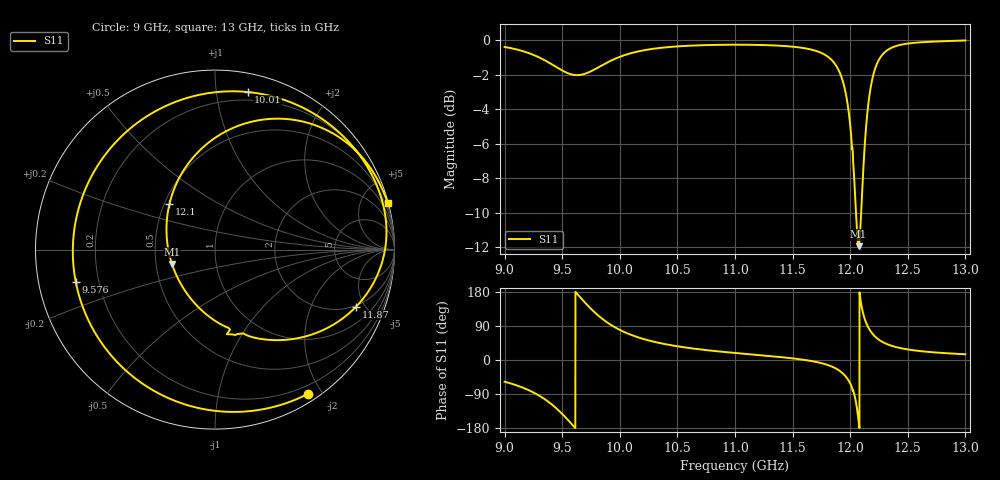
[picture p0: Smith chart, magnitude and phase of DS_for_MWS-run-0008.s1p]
! TOUCHSTONE file generated by CST DESIGN STUDIO
! Date and time: Tue Feb  4 16:15:28 2025
! Project name: C:\Work\MatlabApps\UnitCellOptimizationMatlab\CST\unitcell.cst
! Tree item: Tasks\Sweep1\SPara1\S-Parameters
! Header version: 2024
! Port assignment regex: !\s*Touchstone port\s*([0-9]+)\s*=\s*(CST MWS port|CST DES external port|CST DES block port)\s*(.+)\s* \(\"(.*)\"\)(\s*mode\s*([0-9]+))?.*
! Touchstone port assignment:
! Touchstone port 1 = CST DES external port 1 ("")
# GHz S MA R 50
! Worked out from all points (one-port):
!   4001 points, 9 GHz to 13 GHz, reference 50 ohm
!   lowest |S11| = -12.0 dB at 12.07 GHz (marker M1), VSWR 1.68, Z = 30.3 - j5.17 ohm
!   |S11| at or under -10 dB: 12.05035 GHz to 12.09529 GHz (44.94 MHz wide, 0.372 % of centre)
!   S11 on the Smith chart (normalised r, x): 9 GHz: 0.10, -1.82; 9.576 GHz: 0.11, -0.11; 10.01 GHz: 0.14, +1.22; 11.87 GHz: 1.92, -4.34; 12.1 GHz: 0.53, +0.31; 13 GHz: 0.05, +7.56
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9  0.9558 -57.3
9.158  0.9293 -73.0
9.309  0.8881 -95.6
9.409  0.8512 -117.1
9.5  0.8167 -142.2
9.576  0.7965 -166.9
9.673  0.7947 159.8
9.789  0.8253 123.7
9.885  0.8594 100.3
10  0.8947 79.4
10.008  0.8968 78.2
10.221  0.9363 54.1
10.5  0.9593 36.2
11  0.9702 18.5
11.5  0.9576 4.3
11.74  0.9214 -7.5
11.873  0.8483 -21.9
11.943  0.7456 -37.4
12  0.5678 -61.7
12.037  0.3847 -92.6
12.073  0.2526 -161.6
12.103  0.3581 135.2
12.148  0.611 91.6
12.198  0.7869 67.6
12.25  0.878 53.3
12.312  0.93 42.9
12.5  0.9778 27.9
13  0.9981 15.1
